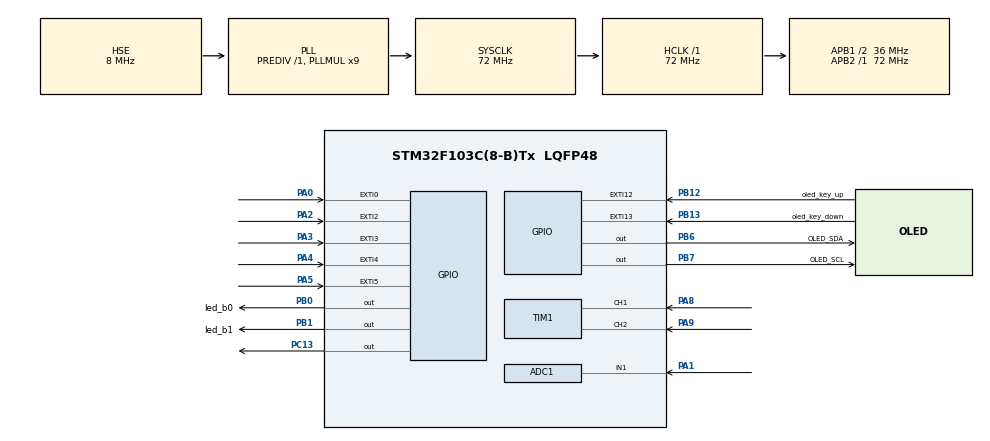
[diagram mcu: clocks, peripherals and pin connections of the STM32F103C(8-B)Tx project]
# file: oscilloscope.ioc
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ADC1.Channel-0\#ChannelRegularConversion=ADC_CHANNEL_1
ADC1.ExternalTrigConv=ADC_EXTERNALTRIGCONV_T3_TRGO
ADC1.NbrOfConversionFlag=1
ADC1.Rank-0\#ChannelRegularConversion=1
ADC1.SamplingTime-0\#ChannelRegularConversion=ADC_SAMPLETIME_1CYCLE_5
ADC1.master=1
Dma.ADC1.0.Direction=DMA_PERIPH_TO_MEMORY
Dma.ADC1.0.Instance=DMA1_Channel1
Dma.ADC1.0.MemDataAlignment=DMA_MDATAALIGN_HALFWORD
Dma.ADC1.0.MemInc=DMA_MINC_ENABLE
Dma.ADC1.0.Mode=DMA_NORMAL
Dma.ADC1.0.PeriphDataAlignment=DMA_PDATAALIGN_HALFWORD
Dma.ADC1.0.PeriphInc=DMA_PINC_DISABLE
Dma.ADC1.0.Priority=DMA_PRIORITY_LOW
Dma.Request0=ADC1
Mcu.Family=STM32F1
Mcu.Name=STM32F103C(8-B)Tx
Mcu.Package=LQFP48
NVIC.DMA1_Channel1_IRQn=true\:0\:0\:false\:false\:true\:false\:true\:true
NVIC.EXTI0_IRQn=true\:0\:0\:false\:false\:true\:true\:true\:true
NVIC.EXTI15_10_IRQn=true\:0\:0\:false\:false\:true\:true\:true\:true
NVIC.EXTI2_IRQn=true\:0\:0\:false\:false\:true\:true\:true\:true
NVIC.EXTI3_IRQn=true\:0\:0\:false\:false\:true\:true\:true\:true
NVIC.EXTI4_IRQn=true\:0\:0\:false\:false\:true\:true\:true\:true
NVIC.EXTI9_5_IRQn=true\:0\:0\:false\:false\:true\:true\:true\:true
NVIC.PriorityGroup=NVIC_PRIORITYGROUP_4
NVIC.TIM2_IRQn=true\:0\:0\:false\:false\:true\:true\:true\:true
PA0-WKUP.GPIO_PuPd=GPIO_PULLUP
PA0-WKUP.Signal=GPXTI0
PA1.Signal=ADCx_IN1
PA13.Mode=Serial_Wire
PA13.Signal=SYS_JTMS-SWDIO
PA14.Mode=Serial_Wire
PA14.Signal=SYS_JTCK-SWCLK
PA2.GPIO_PuPd=GPIO_PULLUP
PA2.Signal=GPXTI2
PA3.GPIO_PuPd=GPIO_PULLUP
PA3.Signal=GPXTI3
PA4.GPIO_PuPd=GPIO_PULLUP
PA4.Signal=GPXTI4
PA5.GPIO_PuPd=GPIO_PULLUP
PA5.Signal=GPXTI5
PA8.Signal=S_TIM1_CH1
PA9.Signal=S_TIM1_CH2
PB0.GPIO_Label=led_b0
PB0.Signal=GPIO_Output
PB1.GPIO_Label=led_b1
PB1.Signal=GPIO_Output
PB12.GPIO_Label=oled_key_up
PB12.GPIO_ModeDefaultEXTI=GPIO_MODE_IT_FALLING
PB12.GPIO_PuPd=GPIO_PULLUP
PB12.Signal=GPXTI12
PB13.GPIO_Label=oled_key_down
PB13.GPIO_ModeDefaultEXTI=GPIO_MODE_IT_FALLING
PB13.GPIO_PuPd=GPIO_PULLUP
PB13.Signal=GPXTI13
PB6.GPIO_Label=OLED_SDA
PB6.GPIO_ModeDefaultOutputPP=GPIO_MODE_OUTPUT_OD
PB6.GPIO_PuPd=GPIO_PULLUP
PB6.GPIO_Speed=GPIO_SPEED_FREQ_HIGH
PB6.PinState=GPIO_PIN_SET
PB6.Signal=GPIO_Output
PB7.GPIO_Label=OLED_SCL
PB7.GPIO_ModeDefaultOutputPP=GPIO_MODE_OUTPUT_OD
PB7.GPIO_PuPd=GPIO_PULLUP
PB7.GPIO_Speed=GPIO_SPEED_FREQ_HIGH
PB7.PinState=GPIO_PIN_SET
PB7.Signal=GPIO_Output
PC13-TAMPER-RTC.Signal=GPIO_Output
PD0-OSC_IN.Mode=HSE-External-Oscillator
PD0-OSC_IN.Signal=RCC_OSC_IN
PD1-OSC_OUT.Mode=HSE-External-Oscillator
PD1-OSC_OUT.Signal=RCC_OSC_OUT
ProjectManager.HeapSize=0x200
ProjectManager.StackSize=0x400
ProjectManager.TargetToolchain=MDK-ARM V5
RCC.ADCPresc=RCC_ADCPCLK2_DIV6
RCC.AHBFreq_Value=72000000
RCC.APB1CLKDivider=RCC_HCLK_DIV2
RCC.APB1Freq_Value=36000000
RCC.APB1TimFreq_Value=72000000
RCC.APB2Freq_Value=72000000
RCC.APB2TimFreq_Value=72000000
RCC.HCLKFreq_Value=72000000
RCC.PLLMUL=RCC_PLL_MUL9
RCC.PLLSourceVirtual=RCC_PLLSOURCE_HSE
RCC.SYSCLKFreq_VALUE=72000000
RCC.SYSCLKSource=RCC_SYSCLKSOURCE_PLLCLK
RCC.USBFreq_Value=72000000
SH.ADCx_IN1.0=ADC1_IN1,IN1
SH.S_TIM1_CH1.0=TIM1_CH1,Encoder_Interface
SH.S_TIM1_CH2.0=TIM1_CH2,Encoder_Interface
TIM2.Period=100-1
TIM2.Prescaler=7200-1
TIM3.Period=360-1
TIM3.TIM_MasterOutputTrigger=TIM_TRGO_UPDATE
VP_TIM2_VS_ClockSourceINT.Mode=Internal
VP_TIM3_VS_ClockSourceINT.Mode=Internal
board=custom

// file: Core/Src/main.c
/* USER CODE BEGIN Header */
/**
  ******************************************************************************
  * @file           : main.c
  * @brief          : Main program body
  ******************************************************************************
  * @attention
  *
  * Copyright (c) 2025 STMicroelectronics.
  * All rights reserved.
  *
  * This software is licensed under terms that can be found in the LICENSE file
  * in the root directory of this software component.
  * If no LICENSE file comes with this software, it is provided AS-IS.
  *
  ******************************************************************************
  */
/* USER CODE END Header */
#include "main.h"
#include "adc.h"
#include "dma.h"
#include "tim.h"
#include "gpio.h"

/* USER CODE BEGIN Includes */
#include <stdio.h>
#include "oled.h"
#include "font.h"
#include "boot_animation.h"
#include "app_main.h"
#include "app_drivers.h"
#include "key_control.h"
#include "aht20.h"

/* USER CODE END Includes */

/* USER CODE BEGIN PV */
//#define ADCDataLength 256
//uint16_t ADCData[ADCDataLength];
char oled_str_buffer[30];
/* USER CODE END PV */

void SystemClock_Config(void);

/* USER CODE BEGIN 0 */
float envtemperature,humidity;
char message1[50];
char message2[20];
/* USER CODE END 0 */

int main(void)
{

  /* MCU Configuration--------------------------------------------------------*/

  /* Reset of all peripherals, Initializes the Flash interface and the Systick. */
  HAL_Init();

  /* Configure the system clock */
  SystemClock_Config();

  /* Initialize all configured peripherals */
  MX_GPIO_Init();
  MX_DMA_Init();
  MX_ADC1_Init();
  MX_TIM3_Init();
  MX_TIM1_Init();
  MX_TIM2_Init();
  AHT20_Init();
  /* USER CODE BEGIN 2 */
	//所有初始化全封装在该函数中
  App_Main_Init();
  /* USER CODE END 2 */

  /* Infinite loop */
  /* USER CODE BEGIN WHILE */
  while (1)
  {
		    OLED_NewFrame();
				if (g_menuState == 0) // 第1页: 目录界面
					{
            OLED_PrintASCIIString(45, 0, "Menu", &afont16x8, OLED_COLOR_NORMAL);
						OLED_PrintASCIIString(0, 20, "1:temandhum", &afont12x6, OLED_COLOR_NORMAL);
            OLED_PrintASCIIString(0, 34, "2:oscilloscope", &afont12x6, OLED_COLOR_NORMAL);
            OLED_PrintASCIIString(0, 48, "3:author", &afont12x6, OLED_COLOR_NORMAL);
					}
				else if (g_menuState == 1) // 第2页: 温湿度
					{
            AHT20_Read(&envtemperature, &humidity);
            sprintf(message1,"室温 : %.1f ℃ ",envtemperature);
            sprintf(message2,"湿度 : %.1f %% ",humidity);
            OLED_PrintString(0, 17, message1, &swimming16x16, OLED_COLOR_NORMAL);
            OLED_PrintString(0, 37, message2, &swimming16x16, OLED_COLOR_NORMAL);
					}
        else if (g_menuState == 2) // 第3页: 示波器
					{
						App_Main_Loop();
					}
        else if (g_menuState == 3) // 第4页: 作者
					{
            OLED_PrintASCIIString(20, 0, "Author", &afont24x12, OLED_COLOR_NORMAL);
            OLED_PrintASCIIString(20, 28, "code by zx", &afont16x8, OLED_COLOR_NORMAL);
            OLED_PrintASCIIString(20, 48, "pcb by sj", &afont16x8, OLED_COLOR_NORMAL);
					}

				OLED_ShowFrame();

				HAL_Delay(10);
    /* USER CODE END WHILE */

  }
}

void SystemClock_Config(void)
{
  RCC_OscInitTypeDef RCC_OscInitStruct = {0};
  RCC_ClkInitTypeDef RCC_ClkInitStruct = {0};
  RCC_PeriphCLKInitTypeDef PeriphClkInit = {0};

  /** Initializes the RCC Oscillators according to the specified parameters
  * in the RCC_OscInitTypeDef structure.
  */
  RCC_OscInitStruct.OscillatorType = RCC_OSCILLATORTYPE_HSE;
  RCC_OscInitStruct.HSEState = RCC_HSE_ON;
  RCC_OscInitStruct.HSEPredivValue = RCC_HSE_PREDIV_DIV1;
  RCC_OscInitStruct.HSIState = RCC_HSI_ON;
  RCC_OscInitStruct.PLL.PLLState = RCC_PLL_ON;
  RCC_OscInitStruct.PLL.PLLSource = RCC_PLLSOURCE_HSE;
  RCC_OscInitStruct.PLL.PLLMUL = RCC_PLL_MUL9;
  if (HAL_RCC_OscConfig(&RCC_OscInitStruct) != HAL_OK)
  {
    Error_Handler();
  }

  /** Initializes the CPU, AHB and APB buses clocks
  */
  RCC_ClkInitStruct.ClockType = RCC_CLOCKTYPE_HCLK|RCC_CLOCKTYPE_SYSCLK
                              |RCC_CLOCKTYPE_PCLK1|RCC_CLOCKTYPE_PCLK2;
  RCC_ClkInitStruct.SYSCLKSource = RCC_SYSCLKSOURCE_PLLCLK;
  RCC_ClkInitStruct.AHBCLKDivider = RCC_SYSCLK_DIV1;
  RCC_ClkInitStruct.APB1CLKDivider = RCC_HCLK_DIV2;
  RCC_ClkInitStruct.APB2CLKDivider = RCC_HCLK_DIV1;

  if (HAL_RCC_ClockConfig(&RCC_ClkInitStruct, FLASH_LATENCY_2) != HAL_OK)
  {
    Error_Handler();
  }
  PeriphClkInit.PeriphClockSelection = RCC_PERIPHCLK_ADC;
  PeriphClkInit.AdcClockSelection = RCC_ADCPCLK2_DIV6;
  if (HAL_RCCEx_PeriphCLKConfig(&PeriphClkInit) != HAL_OK)
  {
    Error_Handler();
  }
}

void Error_Handler(void)
{
  __disable_irq();
  while (1)
  {
  }
}
